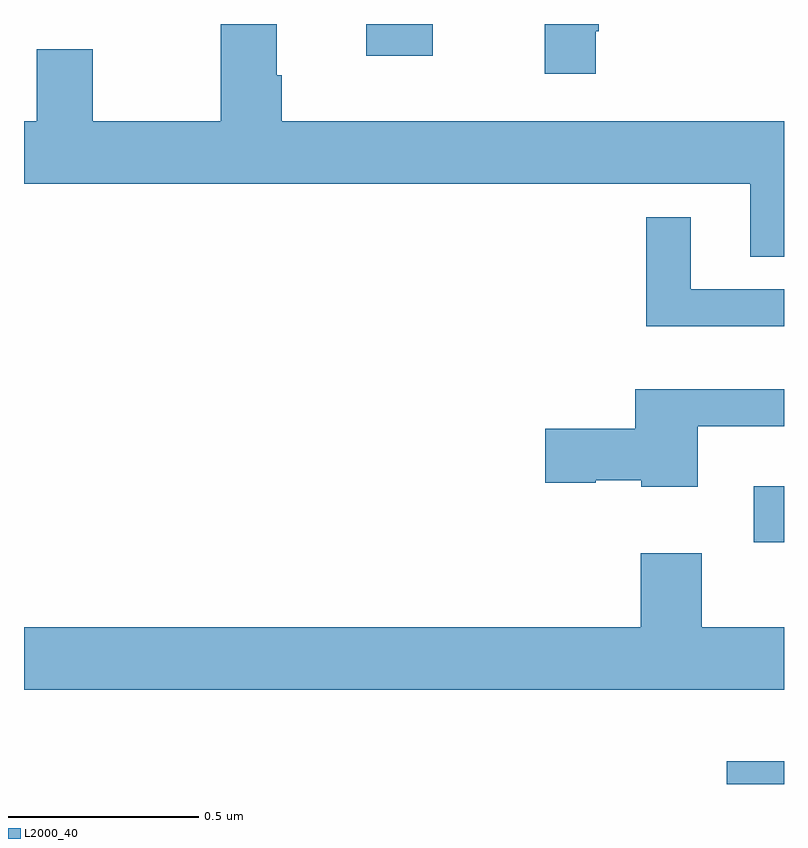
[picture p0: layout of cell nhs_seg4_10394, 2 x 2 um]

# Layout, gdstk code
import gdstk
lib = gdstk.Library(unit=1e-6, precision=1e-09)
def R(c, l, rs):  # rectangles x0, y0, x1, y1
    for r in rs: c.add(gdstk.rectangle(r[:2], r[2:], *l))
def P(c, l, *ps):  # polygons
    for p in ps: c.add(gdstk.Polygon(p, *l))
L2000_40 = (2000, 40)

nhs_seg4_10394 = lib.new_cell('nhs_seg4_10394')
R(nhs_seg4_10394, L2000_40, [(240.849,801.9,241,801.96), (240.921,802.536,241,802.684), (239.9,803.816,240.076,803.9)])
P(nhs_seg4_10394, L2000_40, [(241,803.644),(239.678,803.644),(239.678,803.765),(239.665,803.765),(239.665,803.9),(239.518,803.9),(239.518,803.644),(239.181,803.644),(239.181,803.834),(239.034,803.834),(239.034,803.644),(239,803.644),(239,803.48),(240.911,803.48),(240.911,803.287),(241,803.287)],
  [(240.505,803.881),(240.512,803.881),(240.512,803.9),(240.37,803.9),(240.37,803.769),(240.505,803.769)],
  [(241,803.202),(240.754,803.202),(240.754,803.392),(240.637,803.392),(240.637,803.105),(241,803.105)],
  [(240.773,802.841),(241,802.841),(241,802.939),(240.608,802.939),(240.608,802.835),(240.372,802.835),(240.372,802.693),(240.504,802.693),(240.504,802.7),(240.624,802.7),(240.624,802.682),(240.773,802.682)],
  [(241,802.312),(240.783,802.312),(240.783,802.507),(240.623,802.507),(240.623,802.312),(239,802.312),(239,802.148),(241,802.148)])

lib.write_gds('nhs_seg4_10394.gds')
